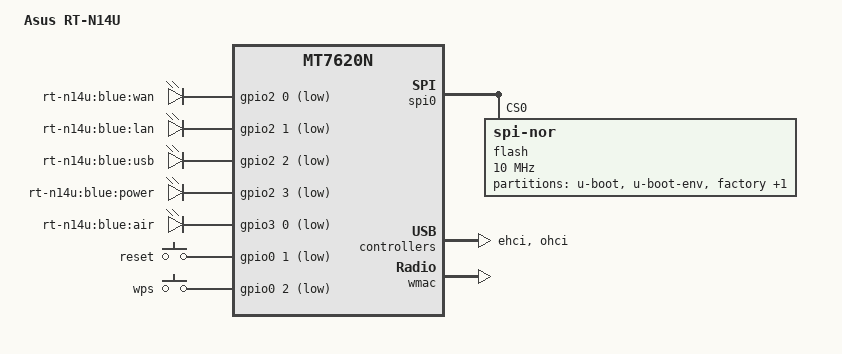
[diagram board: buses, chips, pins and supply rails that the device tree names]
/dts-v1/;

#include "mt7620n.dtsi"

#include <dt-bindings/gpio/gpio.h>
#include <dt-bindings/input/input.h>

/ {
	compatible = "asus,rt-n14u", "ralink,mt7620n-soc";
	model = "Asus RT-N14U";

	aliases {
		led-boot = &led_power;
		led-failsafe = &led_power;
		led-running = &led_power;
		led-upgrade = &led_power;
	};

	leds {
		compatible = "gpio-leds";

		wan {
			label = "rt-n14u:blue:wan";
			gpios = <&gpio2 0 GPIO_ACTIVE_LOW>;
		};

		lan {
			label = "rt-n14u:blue:lan";
			gpios = <&gpio2 1 GPIO_ACTIVE_LOW>;
		};

		usb {
			label = "rt-n14u:blue:usb";
			gpios = <&gpio2 2 GPIO_ACTIVE_LOW>;
			trigger-sources = <&ohci_port1>, <&ehci_port1>;
			linux,default-trigger = "usbport";
		};

		led_power: power {
			label = "rt-n14u:blue:power";
			gpios = <&gpio2 3 GPIO_ACTIVE_LOW>;
		};

		air {
			label = "rt-n14u:blue:air";
			gpios = <&gpio3 0 GPIO_ACTIVE_LOW>;
		};
	};

	keys {
		compatible = "gpio-keys";

		reset {
			label = "reset";
			gpios = <&gpio0 1 GPIO_ACTIVE_LOW>;
			linux,code = <KEY_RESTART>;
		};

		wps {
			label = "wps";
			gpios = <&gpio0 2 GPIO_ACTIVE_LOW>;
			linux,code = <KEY_WPS_BUTTON>;
		};
	};
};

&gpio2 {
	status = "okay";
};

&gpio3 {
	status = "okay";
};

&spi0 {
	status = "okay";

	flash@0 {
		compatible = "jedec,spi-nor";
		reg = <0>;
		spi-max-frequency = <10000000>;

		partitions {
			compatible = "fixed-partitions";
			#address-cells = <1>;
			#size-cells = <1>;

			partition@0 {
				label = "u-boot";
				reg = <0x0 0x30000>;
				read-only;
			};

			partition@30000 {
				label = "u-boot-env";
				reg = <0x30000 0x10000>;
				read-only;
			};

			factory: partition@40000 {
				label = "factory";
				reg = <0x40000 0x10000>;
				read-only;
			};

			partition@50000 {
				compatible = "denx,uimage";
				label = "firmware";
				reg = <0x50000 0xfb0000>;
			};
		};
	};
};

&ehci {
	status = "okay";
};

&ohci {
	status = "okay";
};

&ethernet {
	mtd-mac-address = <&factory 0x4>;

	mediatek,portmap = "wllll";
};

&wmac {
	ralink,mtd-eeprom = <&factory 0x0>;
};

&state_default {
	default {
		groups = "ephy", "wled", "i2c";
		function = "gpio";
	};
};
